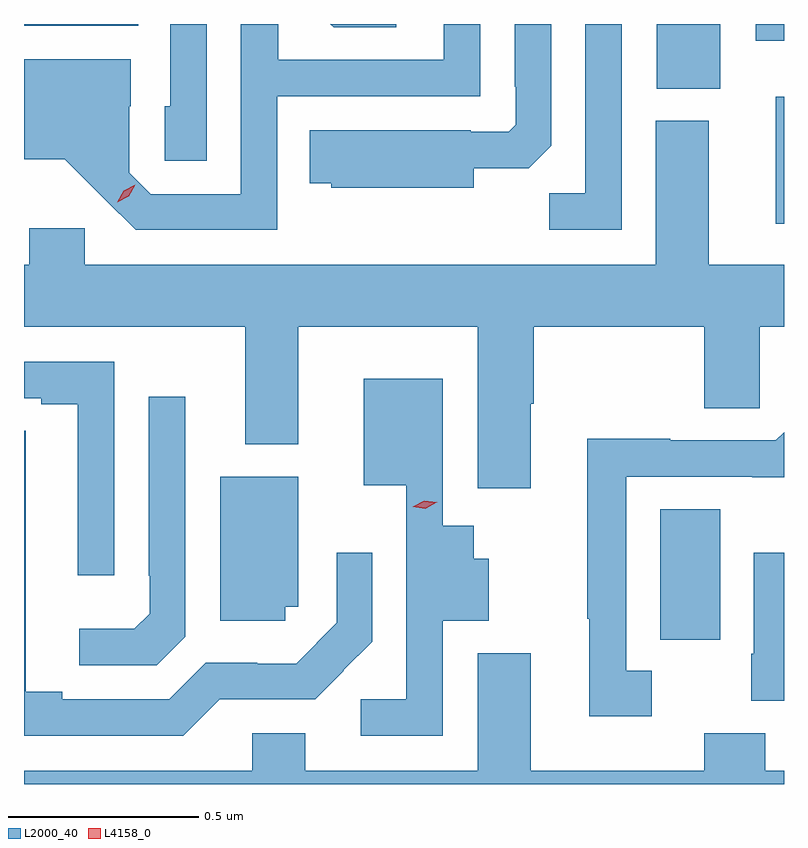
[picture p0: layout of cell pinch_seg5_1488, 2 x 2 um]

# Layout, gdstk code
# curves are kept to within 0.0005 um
import gdstk
lib = gdstk.Library(unit=1e-6, precision=1e-09)
def R(c, l, rs):  # rectangles x0, y0, x1, y1
    for r in rs: c.add(gdstk.rectangle(r[:2], r[2:], *l))
def P(c, l, *ps):  # polygons
    for p in ps: c.add(gdstk.Polygon(p, *l))
L2000_40 = (2000, 40)
L4158_0 = (4158, 0)

pinch_seg5_1488 = lib.new_cell('pinch_seg5_1488')
R(pinch_seg5_1488, L2000_40, [(132.248,883.908,132.406,884.252), (132.552,885.003,132.574,885.337), (132.239,885.359,132.406,885.529), (132.5,885.485,132.574,885.529), (130.574,885.524,130.874,885.529)])
P(pinch_seg5_1488, L2000_40, [(131.241,885.339),(131.775,885.339),(131.775,885.529),(131.679,885.529),(131.679,885.435),(131.243,885.435),(131.243,885.529),(131.145,885.529),(131.145,885.081),(130.908,885.081),(130.851,885.138),(130.851,885.312),(130.855,885.312),(130.855,885.436),(130.574,885.436),(130.574,885.173),(130.681,885.173),(130.868,884.988),(131.241,884.988)],
  [(131.055,885.529),(130.959,885.529),(130.959,885.312),(130.944,885.312),(130.944,885.169),(131.055,885.169)],
  [(132.147,885.529),(132.051,885.529),(132.051,885.083),(131.956,885.083),(131.956,884.988),(132.147,884.988)],
  [(131.554,885.529),(131.38,885.529),(131.389,885.52),(131.554,885.52)],
  [(131.758,885.149),(131.902,885.149),(131.961,885.208),(131.961,885.529),(131.865,885.529),(131.865,885.364),(131.868,885.364),(131.868,885.264),(131.85,885.246),(131.75,885.246),(131.75,885.25),(131.326,885.25),(131.326,885.11),(131.382,885.11),(131.382,885.098),(131.758,885.098)],
  [(131.908,884.53),(131.916,884.53),(131.916,884.732),(132.364,884.732),(132.364,884.518),(132.51,884.518),(132.51,884.732),(132.574,884.732),(132.574,884.896),(132.376,884.896),(132.376,885.274),(132.236,885.274),(132.236,884.896),(130.734,884.896),(130.734,884.992),(130.588,884.992),(130.588,884.896),(130.574,884.896),(130.574,884.732),(131.156,884.732),(131.156,884.423),(131.296,884.423),(131.296,884.732),(131.768,884.732),(131.768,884.307),(131.908,884.307)],
  [(130.812,884.64),(130.574,884.64),(130.574,884.544),(130.619,884.544),(130.619,884.529),(130.715,884.529),(130.715,884.079),(130.812,884.079)],
  [(131.676,883.958),(131.797,883.958),(131.797,884.122),(131.758,884.122),(131.758,884.209),(131.676,884.209),(131.676,884.596),(131.468,884.596),(131.468,884.315),(131.58,884.315),(131.58,883.752),(131.46,883.752),(131.46,883.656),(131.676,883.656)],
  [(130.998,883.917),(130.998,884.548),(130.902,884.548),(130.902,884.077),(130.905,884.077),(130.905,883.977),(130.864,883.937),(130.719,883.937),(130.719,883.842),(130.923,883.842)],
  [(131.089,883.752),(131.34,883.752),(131.415,883.827),(131.414,883.828),(131.49,883.904),(131.49,884.137),(131.397,884.137),(131.397,883.953),(131.29,883.846),(131.188,883.846),(131.188,883.848),(131.052,883.848),(130.956,883.752),(130.675,883.752),(130.675,883.772),(130.579,883.772),(130.579,884.351),(130.578,884.351),(130.578,884.459),(130.574,884.459),(130.574,883.656),(130.993,883.656)],
  [(132.226,883.827),(132.159,883.827),(132.159,884.337),(132.491,884.337),(132.491,884.336),(132.574,884.336),(132.574,884.455),(132.552,884.433),(132.275,884.433),(132.275,884.438),(132.056,884.438),(132.056,883.964),(132.062,883.964),(132.062,883.707),(132.226,883.707)],
  [(131.262,883.995),(131.296,883.995),(131.296,884.338),(131.09,884.338),(131.09,883.959),(131.262,883.959)],
  [(132.574,884.137),(132.494,884.137),(132.494,883.872),(132.488,883.872),(132.488,883.748),(132.574,883.748)],
  [(132.574,883.564),(132.524,883.564),(132.524,883.663),(132.364,883.663),(132.364,883.564),(131.908,883.564),(131.908,883.873),(131.768,883.873),(131.768,883.564),(131.314,883.564),(131.314,883.663),(131.174,883.663),(131.174,883.564),(130.574,883.564),(130.574,883.529),(132.574,883.529)])
P(pinch_seg5_1488, L4158_0, [(131.63,884.254),(131.597,884.258),(131.596,884.259),(131.597,884.259),(131.627,884.274),(131.66,884.27),(131.661,884.27),(131.66,884.27)],
  [(130.819,885.06),(130.819,885.06),(130.836,885.09),(130.867,885.106),(130.867,885.106),(130.867,885.106),(130.85,885.076),(130.819,885.06)])

lib.write_gds('pinch_seg5_1488.gds')
